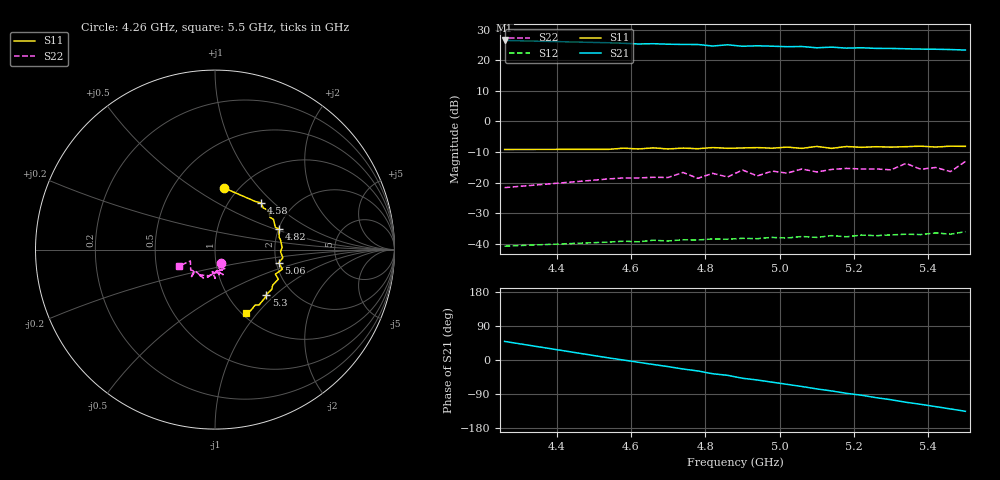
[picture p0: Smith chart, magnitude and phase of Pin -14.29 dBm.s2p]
! RsaToolbox (C) 2015 Rohde & Schwarz America
! Number of points: 26
! Number of ports: 2
! Balanced ports?: No
# Hz S RI R 50
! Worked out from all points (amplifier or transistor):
!   26 points, 4.26 GHz to 5.5 GHz, reference 50 ohm
!   highest |S21| = 26.5 dB at 4.26 GHz (marker M1)
!   |S21| within 3 dB of that: start of sweep to 5.467 GHz
!   unconditionally stable (mu >= 1): start of sweep to end of sweep
!   at 4.66 GHz: K = 2.06, MAG = 26.3 dB, |S12| = -38.9 dB
!   at 5.02 GHz: K = 2.08, MAG = 25.4 dB, |S12| = -38.1 dB
!   at 5.5 GHz: K = 1.79, MAG = 24.6 dB, |S12| = -36.1 dB
!   S11 on the Smith chart (normalised r, x): 4.26 GHz: 0.86, +0.67; 4.58 GHz: 1.40, +0.84; 4.82 GHz: 2.01, +0.54; 5.06 GHz: 2.07, -0.35; 5.3 GHz: 1.49, -0.88; 5.5 GHz: 1.05, -0.87
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4.26e9  0.0479 0.3446  13.86 15.98  0.00865 0.00288  0.0309 -0.0768
4.54e9  0.2253 0.268  19.29 1.883  0.0103 -0.0027  0.0191 -0.1132
4.58e9  0.2573 0.2598  19.02 -0.0151  0.0105 -0.0033  0.0546 -0.1058
4.62e9  0.2682 0.2326  18.44 -1.932  0.00971 -0.0046  0.0259 -0.1163
4.66e9  0.2991 0.2178  18.32 -3.833  0.0103 -0.00493  0.0496 -0.1116
4.7e9  0.306 0.1802  17.52 -5.504  0.00902 -0.00646  -0.000233 -0.1213
4.74e9  0.3258 0.1684  16.66 -7.321  0.00955 -0.00658  0.0455 -0.1391
4.78e9  0.3364 0.1237  15.92 -8.78  0.00827 -0.00799  0.00907 -0.1171
4.82e9  0.3556 0.1166  13.82 -10.14  0.00859 -0.00837  0.024 -0.1396
4.86e9  0.3579 0.0658  13.68 -11.66  0.00712 -0.00947  -0.0152 -0.1226
4.9e9  0.3641 0.0575  11.33 -12.66  0.00706 -0.01  0.000879 -0.1605
4.94e9  0.3739 0.0117  10.48 -13.78  0.00584 -0.0106  -0.00787 -0.1283
5.06e9  0.356 -0.0725  5.789 -15.82  0.00329 -0.0127  -0.0496 -0.1593
5.1e9  0.3753 -0.109  3.801 -15.58  0.00269 -0.0124  -0.0304 -0.1462
5.14e9  0.3364 -0.1367  2.398 -16.28  0.000996 -0.0135  -0.0838 -0.1413
5.18e9  0.3528 -0.165  0.5672 -15.83  0.000516 -0.013  -0.0643 -0.1581
5.22e9  0.3214 -0.1979  -0.807 -16.06  -0.00111 -0.0138  -0.0845 -0.1443
5.26e9  0.3163 -0.2217  -2.579 -15.47  -0.00163 -0.0134  -0.0781 -0.1478
5.3e9  0.2857 -0.2513  -4.009 -15.14  -0.0032 -0.0136  -0.1139 -0.1149
5.34e9  0.2786 -0.2686  -5.662 -14.39  -0.00404 -0.0137  -0.1343 -0.1563
5.42e9  0.2234 -0.3093  -8.28 -12.73  -0.00658 -0.0135  -0.1353 -0.1137
5.5e9  0.1716 -0.3516  -10.49 -10.36  -0.009 -0.0129  -0.2014 -0.0927
